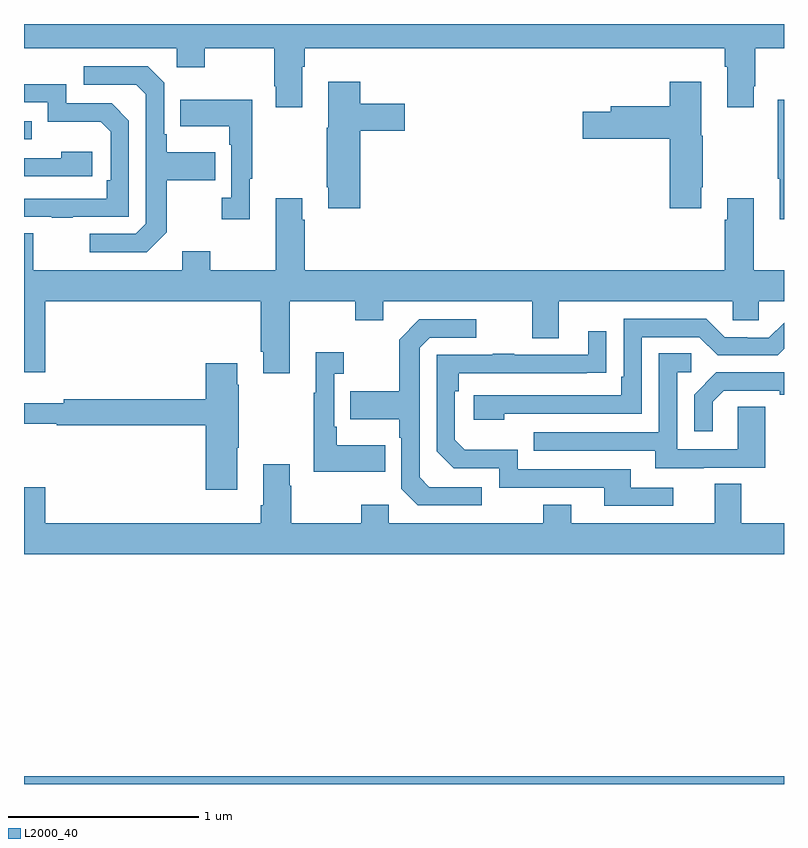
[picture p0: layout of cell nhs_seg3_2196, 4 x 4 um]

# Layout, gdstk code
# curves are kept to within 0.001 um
import gdstk
lib = gdstk.Library(unit=1e-6, precision=1e-09)
def R(c, l, rs):  # rectangles x0, y0, x1, y1
    for r in rs: c.add(gdstk.rectangle(r[:2], r[2:], *l))
def P(c, l, *ps):  # polygons
    for p in ps: c.add(gdstk.Polygon(p, *l))
L2000_40 = (2000, 40)

nhs_seg3_2196 = lib.new_cell('nhs_seg3_2196')
R(nhs_seg3_2196, L2000_40, [(225,674.4,229,674.44), (225,677.793,225.041,677.889)])
P(nhs_seg3_2196, L2000_40, [(226.465,678.176),(226.478,678.176),(226.478,678.272),(228.689,678.272),(228.689,678.176),(228.701,678.176),(228.701,677.961),(228.841,677.961),(228.841,678.073),(228.849,678.073),(228.849,678.272),(229,678.272),(229,678.4),(225,678.4),(225,678.272),(225.804,678.272),(225.804,678.173),(225.951,678.173),(225.951,678.272),(226.318,678.272),(226.318,678.073),(226.325,678.073),(226.325,677.961),(226.465,677.961)],
  [(225.751,677.305),(225.751,677.578),(226.007,677.578),(226.007,677.725),(225.751,677.725),(225.751,677.821),(225.738,677.821),(225.738,678.09),(225.651,678.177),(225.315,678.177),(225.315,678.081),(225.591,678.081),(225.642,678.03),(225.642,677.349),(225.588,677.295),(225.345,677.295),(225.345,677.199),(225.645,677.199)],
  [(226.769,677.837),(227.005,677.837),(227.005,677.979),(226.769,677.979),(226.769,678.097),(226.601,678.097),(226.601,677.853),(226.594,677.853),(226.594,677.542),(226.601,677.542),(226.601,677.43),(226.769,677.43)],
  [(228.565,677.542),(228.573,677.542),(228.573,677.811),(228.565,677.811),(228.565,678.097),(228.398,678.097),(228.398,677.967),(228.089,677.967),(228.089,677.937),(227.94,677.937),(227.94,677.795),(228.398,677.795),(228.398,677.43),(228.565,677.43)],
  [(225.257,677.385),(225.552,677.385),(225.552,677.892),(225.462,677.982),(225.222,677.982),(225.222,678.084),(225,678.084),(225,677.988),(225.126,677.988),(225.126,677.885),(225.403,677.885),(225.456,677.832),(225.456,677.578),(225.436,677.578),(225.436,677.481),(225,677.481),(225,677.385),(225.145,677.385),(225.145,677.38),(225.257,677.38)],
  [(226.189,677.585),(226.201,677.585),(226.201,678.001),(225.823,678.001),(225.823,677.861),(226.08,677.861),(226.08,677.765),(226.092,677.765),(226.092,677.486),(226.041,677.486),(226.041,677.373),(226.189,677.373)],
  [(229,678.001),(228.966,678.001),(228.966,677.585),(228.977,677.585),(228.977,677.373),(229,677.373)],
  [(225.358,677.728),(225.197,677.728),(225.197,677.694),(225,677.694),(225,677.598),(225.358,677.598)],
  [(226.399,676.94),(226.744,676.94),(226.744,676.841),(226.891,676.841),(226.891,676.94),(227.675,676.94),(227.675,676.746),(227.815,676.746),(227.815,676.94),(228.729,676.94),(228.729,676.842),(228.867,676.842),(228.867,676.94),(229,676.94),(229,677.104),(228.841,677.104),(228.841,677.482),(228.701,677.482),(228.701,677.369),(228.689,677.369),(228.689,677.104),(226.478,677.104),(226.478,677.369),(226.465,677.369),(226.465,677.482),(226.325,677.482),(226.325,677.104),(225.981,677.104),(225.981,677.203),(225.833,677.203),(225.833,677.104),(225.049,677.104),(225.049,677.299),(225,677.299),(225,676.566),(225.112,676.566),(225.112,676.94),(226.247,676.94),(226.247,676.675),(226.259,676.675),(226.259,676.563),(226.399,676.563)],
  [(227.528,676.35),(228.252,676.35),(228.252,676.752),(228.555,676.752),(228.651,676.656),(228.966,676.656),(229,676.69),(229,676.828),(228.921,676.749),(228.806,676.749),(228.806,676.752),(228.687,676.752),(228.591,676.848),(228.156,676.848),(228.156,676.543),(228.143,676.543),(228.143,676.446),(227.367,676.446),(227.367,676.316),(227.528,676.316)],
  [(227.41,675.963),(227.133,675.963),(227.082,676.014),(227.082,676.695),(227.136,676.749),(227.38,676.749),(227.38,676.845),(227.079,676.845),(226.974,676.739),(226.974,676.467),(226.717,676.467),(226.717,676.319),(226.974,676.319),(226.974,676.223),(226.986,676.223),(226.986,675.954),(227.073,675.867),(227.41,675.867)],
  [(228.418,675.96),(228.193,675.96),(228.193,676.056),(227.598,676.056),(227.598,676.159),(227.321,676.159),(227.268,676.212),(227.268,676.466),(227.288,676.466),(227.288,676.563),(228.065,676.564),(228.065,676.783),(227.969,676.783),(227.969,676.659),(227.579,676.659),(227.579,676.664),(227.467,676.664),(227.467,676.659),(227.172,676.659),(227.172,676.152),(227.262,676.062),(227.502,676.062),(227.502,675.96),(228.053,675.96),(228.053,675.864),(228.418,675.864)],
  [(226.901,676.183),(226.645,676.183),(226.645,676.279),(226.632,676.279),(226.632,676.559),(226.684,676.559),(226.684,676.672),(226.535,676.672),(226.535,676.459),(226.524,676.459),(226.524,676.043),(226.901,676.043)],
  [(228.577,676.065),(228.901,676.065),(228.901,676.385),(228.756,676.385),(228.756,676.161),(228.438,676.161),(228.438,676.566),(228.511,676.566),(228.511,676.667),(228.342,676.667),(228.342,676.251),(227.683,676.251),(227.683,676.155),(228.323,676.155),(228.323,676.061),(228.577,676.061)],
  [(226.123,676.171),(226.131,676.171),(226.131,676.502),(226.123,676.502),(226.123,676.615),(225.956,676.615),(225.956,676.424),(225.208,676.424),(225.208,676.405),(225,676.405),(225,676.296),(225.172,676.296),(225.172,676.288),(225.956,676.288),(225.956,675.948),(226.123,675.948)],
  [(228.625,676.413),(228.682,676.47),(228.977,676.47),(228.977,676.448),(229,676.448),(229,676.566),(228.644,676.566),(228.528,676.45),(228.528,676.257),(228.625,676.257)],
  [(229,675.772),(228.775,675.772),(228.775,675.98),(228.635,675.98),(228.635,675.772),(227.881,675.772),(227.881,675.871),(227.734,675.871),(227.734,675.772),(226.92,675.772),(226.92,675.871),(226.774,675.871),(226.774,675.772),(226.407,675.772),(226.407,675.971),(226.399,675.971),(226.399,676.084),(226.259,676.084),(226.259,675.868),(226.247,675.868),(226.247,675.772),(225.112,675.772),(225.112,675.961),(225,675.961),(225,675.608),(229,675.608)])

lib.write_gds('nhs_seg3_2196.gds')
